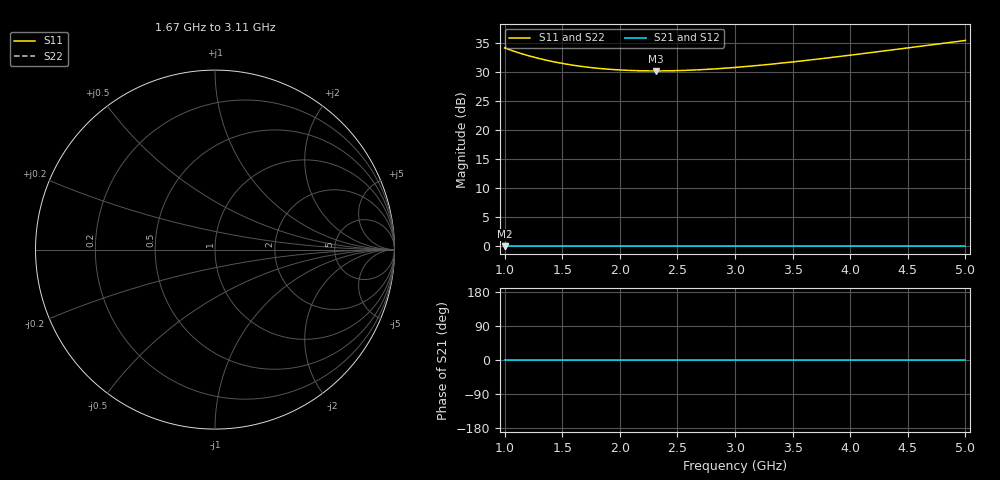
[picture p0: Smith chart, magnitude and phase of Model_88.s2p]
# GHZ S RI R 50
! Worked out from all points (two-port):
!   401 points, 1 GHz to 5 GHz, reference 50 ohm
!   highest |S21| = 0.00 dB at 1 GHz (marker M1); lowest = 0.0 dB at 1 GHz (marker M2)
!   |S21| within 3 dB of the highest: start of sweep to end of sweep
!   lowest |S11| = 30.1 dB at 2.31 GHz (marker M3)
!   |S11| at or under -10 dB: nowhere
!   |S22| runs from 30.1 to 35.4 dB; largest |S21 - S12| = 0
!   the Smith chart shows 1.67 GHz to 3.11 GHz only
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1  50.55 0  1 0  1 0  50.55 0
1.15  45.01 0  1 0  1 0  45.01 0
1.22  42.97 0  1 0  1 0  42.97 0
1.3  40.98 0  1 0  1 0  40.98 0
1.38  39.28 0  1 0  1 0  39.28 0
1.47  37.68 0  1 0  1 0  37.68 0
1.57  36.21 0  1 0  1 0  36.21 0
1.67  35.03 0  1 0  1 0  35.03 0
1.82  33.7 0  1 0  1 0  33.7 0
1.97  32.81 0  1 0  1 0  32.81 0
2.14  32.24 0  1 0  1 0  32.24 0
2.31  32.06 0  1 0  1 0  32.06 0
2.34  32.07 0  1 0  1 0  32.07 0
2.5  32.25 0  1 0  1 0  32.25 0
2.66  32.69 0  1 0  1 0  32.69 0
3  34.36 0  1 0  1 0  34.36 0
3.33  36.79 0  1 0  1 0  36.79 0
3.67  40.02 0  1 0  1 0  40.02 0
4  43.79 0  1 0  1 0  43.79 0
4.34  48.27 0  1 0  1 0  48.27 0
4.63  52.56 0  1 0  1 0  52.56 0
5  58.61 0  1 0  1 0  58.61 0
